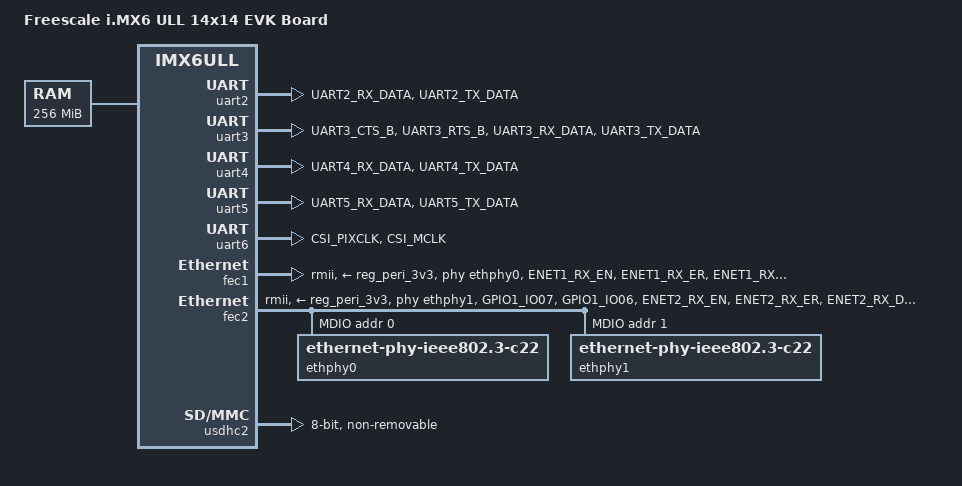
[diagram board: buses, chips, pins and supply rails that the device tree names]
// SPDX-License-Identifier: (GPL-2.0 OR MIT)
//
// Copyright (C) 2016 Freescale Semiconductor, Inc.

/dts-v1/;

#include "imx6ull.dtsi"
#include "imx6ul-14x14-evk.dtsi"

/ {
	model = "Freescale i.MX6 ULL 14x14 EVK Board";
	compatible = "fsl,imx6ull-14x14-evk", "fsl,imx6ull";

	memory@80000000 {
		device_type = "memory";
		reg = <0x80000000 0x10000000>;
	};

	reserved-memory {
		#address-cells = <1>;
		#size-cells = <1>;
		ranges;

		linux,cma {
			compatible = "shared-dma-pool";
			reusable;
			size = <0x400000>;
			linux,cma-default;
		};
	};
};

&clks {
	assigned-clocks = <&clks IMX6UL_CLK_PLL3_PFD2>,
			  <&clks IMX6UL_CLK_PLL4_AUDIO_DIV>;
	assigned-clock-rates = <320000000>, <786432000>;
};

&csi {
	status = "disabled";
};

&ov5640 {
	status = "disabled";
};

&can1 {
	status = "disabled";
};

&can2 {
	status = "disabled";
};

&lcdif {
	status = "disabled";
};

&pxp {
	status = "disabled";
};

&tsc {
	status = "disabled";
};

// /delete-node/ &uart2;

&uart2 {
	pinctrl-names = "default";
	pinctrl-0 = <&pinctrl_uart2>;
	status = "okay";
	bluetooth {
		status = "disabled";
	};
};

&uart3 {
	pinctrl-names = "default";
	pinctrl-0 = <&pinctrl_uart3>;
	uart-has-rtscts;
	status = "okay";
};

&uart4 {
	pinctrl-names = "default";
	pinctrl-0 = <&pinctrl_uart4>;
	status = "okay";
};

&uart5 {
	pinctrl-names = "default";
	pinctrl-0 = <&pinctrl_uart5>;
	status = "okay";
};

&uart6 {
	pinctrl-names = "default";
	pinctrl-0 = <&pinctrl_uart6>;
	status = "okay";
};

&fec1 {
	pinctrl-names = "default";
	pinctrl-0 = <&pinctrl_enet1>;
	phy-mode = "rmii";
	phy-handle = <&ethphy0>;
	phy-supply = <&reg_peri_3v3>;
	phy-reset-gpios =<&gpio2 7 GPIO_ACTIVE_LOW>;
	phy-reset-duration =<26>;
	status = "okay";
};

&fec2 {
	pinctrl-names = "default";
	pinctrl-0 = <&pinctrl_enet2>;
	phy-mode = "rmii";
	phy-handle = <&ethphy1>;
	phy-supply = <&reg_peri_3v3>;
	phy-reset-gpios =<&gpio2 15 GPIO_ACTIVE_LOW>;
	phy-reset-duration =<26>;
	status = "okay";

	mdio {
		#address-cells = <1>;
		#size-cells = <0>;

		ethphy0: ethernet-phy@0 {
			compatible = "ethernet-phy-ieee802.3-c22";
			smsc,disable-energy-detect;
			reg = <0>;
			micrel,led-mode = <1>;
			clocks = <&clks IMX6UL_CLK_ENET_REF>;
			clock-names = "rmii-ref";

		};

		ethphy1: ethernet-phy@1 {
			compatible = "ethernet-phy-ieee802.3-c22";
			smsc,disable-energy-detect;
			reg = <1>;
			micrel,led-mode = <1>;
			clocks = <&clks IMX6UL_CLK_ENET2_REF>;
			clock-names = "rmii-ref";
		};
	};
};

&iomuxc {
	pinctrl_i2c1: i2c1grp {
		fsl,pins = <
			MX6UL_PAD_GPIO1_IO02__I2C1_SCL 0x4001b8b0
			MX6UL_PAD_GPIO1_IO03__I2C1_SDA 0x4001b8b0
		>;
	};

	pinctrl_i2c2: i2c2grp {
		fsl,pins = <
			MX6UL_PAD_CSI_HSYNC__I2C2_SCL 0x4001b8b0
			MX6UL_PAD_CSI_VSYNC__I2C2_SDA 0x4001b8b0
		>;
	};

	pinctrl_uart2: uart2grp {
		fsl,pins = <
			MX6UL_PAD_UART2_RX_DATA__UART2_DCE_RX	0x1b0b1
			MX6UL_PAD_UART2_TX_DATA__UART2_DCE_TX	0x1b0b1
		>;
	};

	pinctrl_uart3: uart3grp {
		fsl,pins = <
			MX6UL_PAD_UART3_CTS_B__UART3_DCE_CTS       0x1b0b1
			MX6UL_PAD_UART3_RTS_B__UART3_DCE_RTS       0x1b0b1
			MX6UL_PAD_UART3_RX_DATA__UART3_DCE_RX      0x1b0b1
			MX6UL_PAD_UART3_TX_DATA__UART3_DCE_TX      0x1b0b1
		>;
	};

	pinctrl_uart4: uart4grp {
		fsl,pins = <
			MX6UL_PAD_UART4_RX_DATA__UART4_DCE_RX      0x1b0b1
			MX6UL_PAD_UART4_TX_DATA__UART4_DCE_TX      0x1b0b1
		>;
	};

	pinctrl_uart5: uart5grp {
		fsl,pins = <
			MX6UL_PAD_UART5_RX_DATA__UART5_DCE_RX      0x1b0b1
			MX6UL_PAD_UART5_TX_DATA__UART5_DCE_TX      0x1b0b1
		>;
	};

	pinctrl_uart6: uart6grp {
		fsl,pins = <
			MX6UL_PAD_CSI_PIXCLK__UART6_DCE_RX      0x1b0b1
			MX6UL_PAD_CSI_MCLK__UART6_DCE_TX        0x1b0b1
		>;
	};

	pinctrl_enet1: enet1grp {
		fsl,pins = <
			MX6UL_PAD_ENET1_RX_EN__ENET1_RX_EN	0x1b0b0
			MX6UL_PAD_ENET1_RX_ER__GPIO2_IO07	0x1b0b0
			MX6UL_PAD_ENET1_RX_DATA0__ENET1_RDATA00	0x1b0b0
			MX6UL_PAD_ENET1_RX_DATA1__ENET1_RDATA01	0x1b0b0
			MX6UL_PAD_ENET1_TX_EN__ENET1_TX_EN	0x1b0b0
			MX6UL_PAD_ENET1_TX_DATA0__ENET1_TDATA00	0x1b0b0
			MX6UL_PAD_ENET1_TX_DATA1__ENET1_TDATA01	0x1b0b0
			MX6UL_PAD_ENET1_TX_CLK__ENET1_REF_CLK1	0x4001b031
		>;
	};

	pinctrl_enet2: enet2grp {
		fsl,pins = <
			MX6UL_PAD_GPIO1_IO07__ENET2_MDC		0x1b0b0
			MX6UL_PAD_GPIO1_IO06__ENET2_MDIO	0x1b0b0
			MX6UL_PAD_ENET2_RX_EN__ENET2_RX_EN	0x1b0b0
			MX6UL_PAD_ENET2_RX_ER__GPIO2_IO15	0x1b0b0
			MX6UL_PAD_ENET2_RX_DATA0__ENET2_RDATA00	0x1b0b0
			MX6UL_PAD_ENET2_RX_DATA1__ENET2_RDATA01	0x1b0b0
			MX6UL_PAD_ENET2_TX_EN__ENET2_TX_EN	0x1b0b0
			MX6UL_PAD_ENET2_TX_DATA0__ENET2_TDATA00	0x1b0b0
			MX6UL_PAD_ENET2_TX_DATA1__ENET2_TDATA01	0x1b0b0
			MX6UL_PAD_ENET2_TX_CLK__ENET2_REF_CLK2	0x4001b031
		>;
	};
};

&usdhc2 {
	pinctrl-names = "default", "state_100mhz", "state_200mhz";
	pinctrl-0 = <&pinctrl_usdhc2_8bit>;
	pinctrl-1 = <&pinctrl_usdhc2_8bit_100mhz>;
	pinctrl-2 = <&pinctrl_usdhc2_8bit_200mhz>;
	bus-width = <8>;
	non-removable;
	status = "okay";
};

/delete-node/ &sim2;
